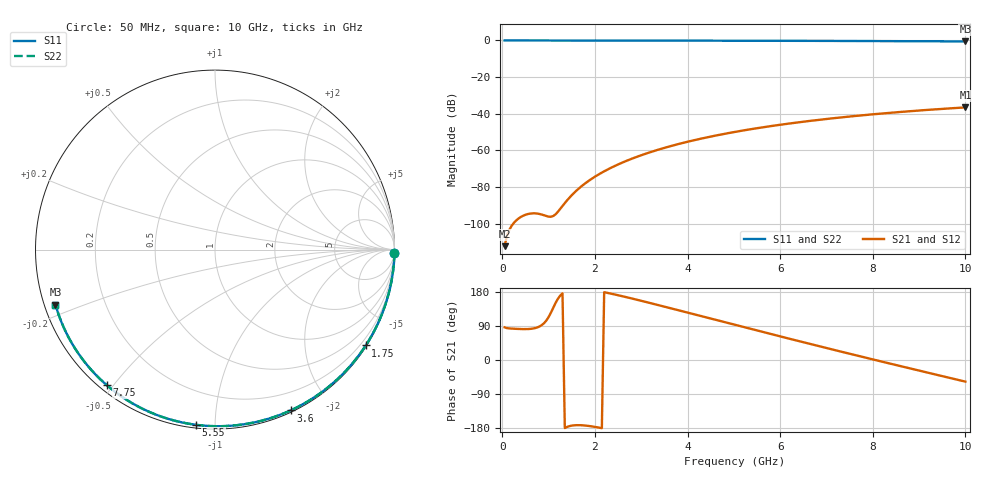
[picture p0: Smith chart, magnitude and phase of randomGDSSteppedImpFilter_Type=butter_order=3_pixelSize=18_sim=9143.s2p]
! freq	dB(S11)	phase(S11)	dB(S12)	phase(S12)
!  dB(S21)	phase(S21)	dB(S22)	phase(S22)
!S-par simulation data
#  GHz  S  DB  R 50
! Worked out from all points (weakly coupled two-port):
!   200 points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, 50 MHz to 10 GHz, reference 50 ohm
!   highest |S21| = -36.57 dB at 10 GHz (marker M1); lowest = -112.4 dB at 50 MHz (marker M2)
!   lowest |S11| = -0.5 dB at 10 GHz (marker M3), VSWR 32.55, Z = 1.58 - j8.38 ohm
!   |S11| at or under -10 dB: nowhere
!   |S22| runs from -0.5 to 0.0 dB; largest |S21 - S12| = 0
!   S11 on the Smith chart (normalised r, x): 50 MHz: open; 1.75 GHz: 0.03, -3.43; 3.6 GHz: 0.02, -1.57; 5.55 GHz: 0.02, -0.90; 7.75 GHz: 0.02, -0.48; 10 GHz: 0.03, -0.17
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0.05  -0.00 -0.9  -112.38 86.2  -112.38 86.2  -0.00 -0.9
0.45  -0.01 -8.5  -95.76 81.5  -95.76 81.5  -0.01 -8.5
0.85  -0.02 -16.0  -95.10 91.9  -95.10 91.9  -0.02 -16.0
1.65  -0.04 -30.7  -80.92 -171.9  -80.92 -171.9  -0.04 -30.7
1.7  -0.04 -31.6  -79.86 -172.1  -79.86 -172.1  -0.04 -31.6
1.75  -0.04 -32.5  -78.84 -172.5  -78.84 -172.5  -0.04 -32.5
1.9  -0.04 -35.2  -76.08 -174.6  -76.08 -174.6  -0.04 -35.2
2.05  -0.05 -37.9  -73.65 -177.6  -73.65 -177.6  -0.05 -37.9
2.25  -0.05 -41.5  -70.81 177.7  -70.81 177.7  -0.05 -41.5
2.45  -0.06 -45.0  -68.32 172.3  -68.32 172.3  -0.06 -45.0
2.9  -0.07 -52.9  -63.62 159.3  -63.62 159.3  -0.07 -52.9
3.4  -0.08 -61.5  -59.42 143.9  -59.42 143.9  -0.08 -61.5
3.6  -0.09 -64.8  -57.96 137.7  -57.96 137.7  -0.09 -64.8
4.3  -0.11 -76.4  -53.59 115.6  -53.59 115.6  -0.11 -76.4
5.05  -0.14 -88.4  -49.84 92.0  -49.84 92.0  -0.14 -88.4
5.55  -0.16 -96.1  -47.74 76.3  -47.74 76.3  -0.16 -96.1
6.1  -0.19 -104.5  -45.71 59.2  -45.71 59.2  -0.19 -104.5
6.7  -0.22 -113.4  -43.77 40.8  -43.77 40.8  -0.22 -113.4
7.75  -0.30 -128.6  -40.94 9.0  -40.94 9.0  -0.30 -128.6
8.35  -0.35 -137.2  -39.58 -8.8  -39.58 -8.8  -0.35 -137.2
9.2  -0.44 -149.4  -37.90 -33.8  -37.90 -33.8  -0.44 -149.4
10  -0.53 -161.0  -36.57 -57.1  -36.57 -57.1  -0.53 -161.0
